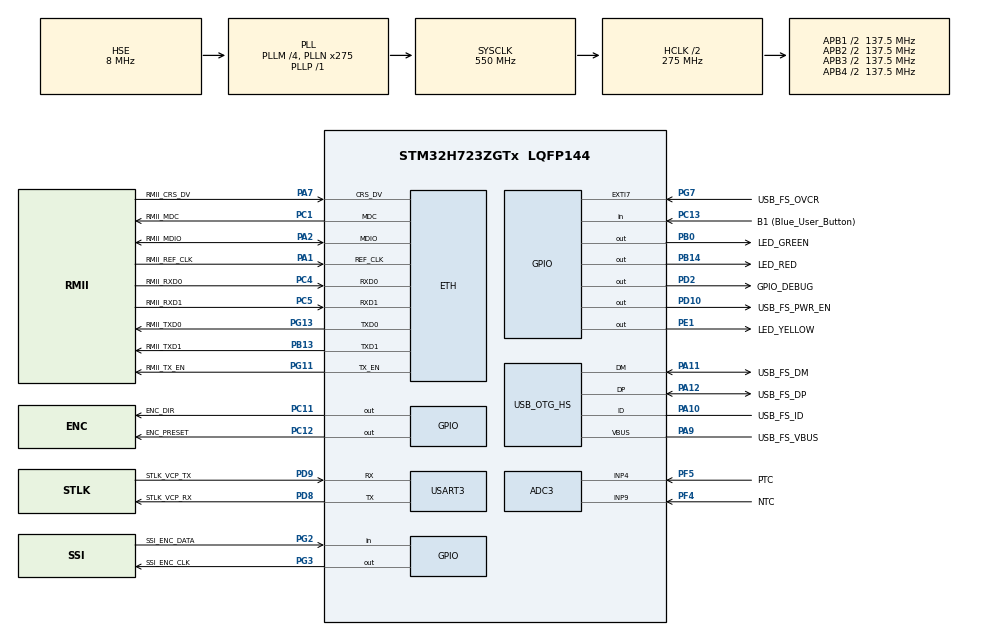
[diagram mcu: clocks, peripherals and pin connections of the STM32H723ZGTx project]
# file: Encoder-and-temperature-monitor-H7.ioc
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ADC3.Channel-1\#ChannelRegularConversion=ADC_CHANNEL_4
ADC3.ClockPrescalerADC3=ADC_CLOCK_ASYNC_DIV64
ADC3.ContinuousConvMode=DISABLE
ADC3.NbrOfConversion=1
ADC3.NbrOfConversionFlag=1
ADC3.OffsetNumber-1\#ChannelRegularConversion=ADC_OFFSET_NONE
ADC3.OffsetSaturation-1\#ChannelRegularConversion=DISABLE
ADC3.OffsetSign-1\#ChannelRegularConversion=ADC3_OFFSET_SIGN_NEGATIVE
ADC3.Overrun=ADC_OVR_DATA_OVERWRITTEN
ADC3.Rank-1\#ChannelRegularConversion=1
ADC3.ResolutionADC3=ADC_RESOLUTION_12B
ADC3.SamplingTime-1\#ChannelRegularConversion=ADC3_SAMPLETIME_6CYCLES_5
ETH.MediaInterface=HAL_ETH_RMII_MODE
Mcu.Family=STM32H7
Mcu.Name=STM32H723ZGTx
Mcu.Package=LQFP144
NVIC.PriorityGroup=NVIC_PRIORITYGROUP_4
NVIC.TIM7_IRQn=true\:0\:0\:false\:false\:true\:true\:true\:true
PA1.GPIO_Label=RMII_REF_CLK
PA1.Mode=RMII
PA1.Signal=ETH_REF_CLK
PA10.GPIO_Label=USB_FS_ID
PA10.Mode=OTG/Dual-Role-Device-FS
PA10.Signal=USB_OTG_HS_ID
PA11.GPIO_Label=USB_FS_DM
PA11.Mode=OTG/Dual-Role-Device-FS
PA11.Signal=USB_OTG_HS_DM
PA12.GPIO_Label=USB_FS_DP
PA12.Mode=OTG/Dual-Role-Device-FS
PA12.Signal=USB_OTG_HS_DP
PA13(JTMS/SWDIO).GPIO_Label=SWDIO
PA13(JTMS/SWDIO).Mode=Trace_Asynchronous_SW
PA13(JTMS/SWDIO).Signal=DEBUG_JTMS-SWDIO
PA14(JTCK/SWCLK).GPIO_Label=SWCLK
PA14(JTCK/SWCLK).Mode=Trace_Asynchronous_SW
PA14(JTCK/SWCLK).Signal=DEBUG_JTCK-SWCLK
PA2.GPIO_Label=RMII_MDIO
PA2.Mode=RMII
PA2.Signal=ETH_MDIO
PA7.GPIO_Label=RMII_CRS_DV
PA7.Mode=RMII
PA7.Signal=ETH_CRS_DV
PA9.GPIO_Label=USB_FS_VBUS
PA9.Mode=Activate_VBUS_FS
PA9.Signal=USB_OTG_HS_VBUS
PB0.GPIO_Label=LED_GREEN
PB0.Signal=GPIO_Output
PB13.GPIO_Label=RMII_TXD1
PB13.Mode=RMII
PB13.Signal=ETH_TXD1
PB14.GPIO_Label=LED_RED
PB14.Signal=GPIO_Output
PB3(JTDO/TRACESWO).GPIO_Label=SWO
PB3(JTDO/TRACESWO).Mode=Trace_Asynchronous_SW
PB3(JTDO/TRACESWO).Signal=DEBUG_JTDO-SWO
PC1.GPIO_Label=RMII_MDC
PC1.Mode=RMII
PC1.Signal=ETH_MDC
PC11.GPIO_Label=ENC_DIR
PC11.Signal=GPIO_Output
PC12.GPIO_Label=ENC_PRESET
PC12.Signal=GPIO_Output
PC13.GPIO_Label=B1 (Blue_User_Button)
PC13.Signal=GPIO_Input
PC14-OSC32_IN.Mode=LSE-External-Oscillator
PC14-OSC32_IN.Signal=RCC_OSC32_IN
PC15-OSC32_OUT.Mode=LSE-External-Oscillator
PC15-OSC32_OUT.Signal=RCC_OSC32_OUT
PC4.GPIO_Label=RMII_RXD0
PC4.Mode=RMII
PC4.Signal=ETH_RXD0
PC5.GPIO_Label=RMII_RXD1
PC5.Mode=RMII
PC5.Signal=ETH_RXD1
PD10.GPIO_Label=USB_FS_PWR_EN
PD10.Signal=GPIO_Output
PD2.GPIO_Label=GPIO_DEBUG
PD2.Signal=GPIO_Output
PD8.GPIO_Label=STLK_VCP_RX
PD8.Mode=Asynchronous
PD8.Signal=USART3_TX
PD9.GPIO_Label=STLK_VCP_TX
PD9.Mode=Asynchronous
PD9.Signal=USART3_RX
PE1.GPIO_Label=LED_YELLOW
PE1.Signal=GPIO_Output
PF4.GPIO_Label=NTC
PF4.Mode=IN9-Single-Ended
PF4.Signal=ADC3_INP9
PF5.GPIO_Label=PTC
PF5.Mode=IN4-Single-Ended
PF5.Signal=ADC3_INP4
PG11.GPIO_Label=RMII_TX_EN
PG11.Mode=RMII
PG11.Signal=ETH_TX_EN
PG13.GPIO_Label=RMII_TXD0
PG13.Mode=RMII
PG13.Signal=ETH_TXD0
PG2.GPIO_Label=SSI_ENC_DATA
PG2.Signal=GPIO_Input
PG3.GPIO_Label=SSI_ENC_CLK
PG3.Signal=GPIO_Output
PG7.GPIO_Label=USB_FS_OVCR
PG7.Signal=GPXTI7
PH0-OSC_IN.GPIO_Label=MCO
PH0-OSC_IN.Mode=HSE-External-Clock-Source
PH0-OSC_IN.Signal=RCC_OSC_IN
PH1-OSC_OUT.Signal=RCC_OSC_OUT
ProjectManager.HeapSize=0x200
ProjectManager.StackSize=0x400
ProjectManager.TargetToolchain=STM32CubeIDE
RCC.ADCCLockSelection=RCC_ADCCLKSOURCE_CLKP
RCC.ADCFreq_Value=64000000
RCC.APB1Freq_Value=137500000
RCC.APB2Freq_Value=137500000
RCC.APB3Freq_Value=137500000
RCC.APB4Freq_Value=137500000
RCC.CortexFreq_Value=550000000
RCC.D1PPRE=RCC_APB3_DIV2
RCC.D2PPRE1=RCC_APB1_DIV2
RCC.D2PPRE2=RCC_APB2_DIV2
RCC.D3PPRE=RCC_APB4_DIV2
RCC.DIVM1=4
RCC.DIVM2=1
RCC.DIVN1=275
RCC.DIVN2=19
RCC.DIVP1=1
RCC.DIVQ1=4
RCC.HCLKFreq_Value=275000000
RCC.HPRE=RCC_HCLK_DIV2
RCC.HSE_VALUE=8000000
RCC.PLLSourceVirtual=RCC_PLLSOURCE_HSE
RCC.SYSCLKFreq_VALUE=550000000
RCC.SYSCLKSource=RCC_SYSCLKSOURCE_PLLCLK
RCC.USBCLockSelection=RCC_USBCLKSOURCE_HSI48
RCC.USBFreq_Value=48000000
TIM7.Period=10
TIM7.Prescaler=55
USART3.VirtualMode-Asynchronous=VM_ASYNC
VP_TIM7_VS_ClockSourceINT.Mode=Enable_Timer
board=NUCLEO-H723ZG

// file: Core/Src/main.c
/* USER CODE BEGIN Header */
/**
 ******************************************************************************
 * @file           : main.c
 * @brief          : Main program body
 ******************************************************************************
 * @attention
 *
 * Copyright (c) 2022 STMicroelectronics.
 * All rights reserved.
 *
 * This software is licensed under terms that can be found in the LICENSE file
 * in the root directory of this software component.
 * If no LICENSE file comes with this software, it is provided AS-IS.
 *
 ******************************************************************************
 */
/* USER CODE END Header */
#include "main.h"
#include "adc.h"
#include "eth.h"
#include "tim.h"
#include "usart.h"
#include "usb_otg.h"
#include "gpio.h"

/* USER CODE BEGIN Includes */
#include "string.h"
#include <stdio.h>
#include "ntc.h"
#include "ptc.h"
/* USER CODE END Includes */

/* USER CODE BEGIN PTD */
#define TRUE   		1
#define FALSE   	0
#define ENC_BITs    27  // 13 multiturn, 12 angle, 2 stop-bits
#define AVG_MEAS    3
#define BUF_SIZE   80
/* USER CODE END PTD */

/* USER CODE BEGIN PD */

uint32_t enc_clk_count = 0;
uint32_t enc_bits[AVG_MEAS];
uint8_t ping = TRUE;
uint8_t sampl_cycles = 3;
uint8_t i = 0;
uint32_t angle[AVG_MEAS];
uint16_t turn[AVG_MEAS];
uint8_t tx_buff[BUF_SIZE];
uint8_t tx_buff_size;

uint8_t clk_front_count = 0;
/* USER CODE END PD */

void SystemClock_Config(void);
void PeriphCommonClock_Config(void);

/* USER CODE BEGIN 0 */
void getTemperature();
/* USER CODE END 0 */

int main(void)
{

	/* MCU Configuration--------------------------------------------------------*/

	/* Reset of all peripherals, Initializes the Flash interface and the Systick. */
	HAL_Init();

	/* Configure the system clock */
	SystemClock_Config();

	/* Configure the peripherals common clocks */
	PeriphCommonClock_Config();

	/* Initialize all configured peripherals */
	MX_GPIO_Init();
	MX_ETH_Init();
	MX_USART3_UART_Init();
	MX_USB_OTG_HS_USB_Init();
	MX_TIM7_Init();
	MX_ADC3_Init();
	/* USER CODE BEGIN 2 */

	memset(tx_buff, (uint8_t)0x0, sizeof(uint8_t)*BUF_SIZE);
	memset(enc_bits,(uint8_t)0x0, sizeof(uint32_t)*AVG_MEAS);
	tx_buff_size = (uint8_t) sprintf((char *) tx_buff, "Hello\n\r");
	HAL_UART_Transmit(&huart3, (uint8_t*)tx_buff, tx_buff_size, 500);

	// Set high preset pin for 2.5s to reset the encoder counter
	HAL_Delay(1000);
	HAL_GPIO_WritePin(ENC_PRESET_GPIO_Port, ENC_PRESET_Pin, GPIO_PIN_SET);
	HAL_Delay(3000);
	HAL_GPIO_WritePin(ENC_PRESET_GPIO_Port, ENC_PRESET_Pin, GPIO_PIN_RESET);
	HAL_Delay(500);
	/* USER CODE END 2 */

	/* Infinite loop */
	while (1)
	{

		/* USER CODE BEGIN 3 */
		memset(enc_bits,(uint8_t)0x0, sizeof(uint32_t)*AVG_MEAS);

		for (i = 0; i < AVG_MEAS; i++)
		{
			ping = TRUE;
			enc_clk_count = 0;
			enc_clk_count = 0;
			HAL_TIM_Base_Start_IT(&htim7);

			while (enc_clk_count < (ENC_BITs * 4) )
			{
				while (ping){}

				if ((enc_clk_count % 4) == 0)
				{
					HAL_GPIO_TogglePin(GPIO_DEBUG_GPIO_Port, GPIO_DEBUG_Pin);
					enc_bits[i] <<= 1;
					enc_bits[i] |= ( ((uint32_t) HAL_GPIO_ReadPin(SSI_ENC_DATA_GPIO_Port, SSI_ENC_DATA_Pin)) & 0x00000001);
					HAL_GPIO_TogglePin(GPIO_DEBUG_GPIO_Port, GPIO_DEBUG_Pin);
				}
				else if ((enc_clk_count % 2) == 0)
				{}
				else
				{
					HAL_GPIO_TogglePin(SSI_ENC_CLK_GPIO_Port, SSI_ENC_CLK_Pin);
					HAL_GPIO_TogglePin(TEST_OUT_GPIO_Port, TEST_OUT_Pin);
					clk_front_count++;
				}
				ping = TRUE;
			}

			HAL_GPIO_WritePin(SSI_ENC_CLK_GPIO_Port, SSI_ENC_CLK_Pin, GPIO_PIN_SET);
			HAL_TIM_Base_Stop_IT(&htim7);
			HAL_Delay(5);
		}

		for (i = 0; i < AVG_MEAS; i++)
		{
			enc_bits[i] >>= 2;
			//13 bits angle
			angle[i] = (int32_t) ((enc_bits[i] & 0x00001FFF) * 44);
			//12 bits multi-turn
			turn[i]  = (int16_t)((enc_bits[i] & 0x01FFE000) >> 13);
		}
		tx_buff_size = (uint8_t) sprintf((char *) tx_buff, "------\r\nENCODER:\r\n%lu|%lu|%lu mDeg\n\r%u|%u|%u turns\n\r\n\r",
				angle[0], angle[1], angle[2], turn[0], turn[1], turn[2]);
		HAL_UART_Transmit(&huart3, (uint8_t*)tx_buff, tx_buff_size, 1000);
		getTemperature();
		HAL_Delay(500);
	}
	/* USER CODE END 3 */
}

void SystemClock_Config(void)
{
	RCC_OscInitTypeDef RCC_OscInitStruct = {0};
	RCC_ClkInitTypeDef RCC_ClkInitStruct = {0};

	/** Supply configuration update enable
	 */
	HAL_PWREx_ConfigSupply(PWR_LDO_SUPPLY);

	/** Configure the main internal regulator output voltage
	 */
	__HAL_PWR_VOLTAGESCALING_CONFIG(PWR_REGULATOR_VOLTAGE_SCALE0);

	while(!__HAL_PWR_GET_FLAG(PWR_FLAG_VOSRDY)) {}

	/** Initializes the RCC Oscillators according to the specified parameters
	 * in the RCC_OscInitTypeDef structure.
	 */
	RCC_OscInitStruct.OscillatorType = RCC_OSCILLATORTYPE_HSI48|RCC_OSCILLATORTYPE_HSI
			|RCC_OSCILLATORTYPE_HSE;
	RCC_OscInitStruct.HSEState = RCC_HSE_BYPASS;
	RCC_OscInitStruct.HSIState = RCC_HSI_DIV1;
	RCC_OscInitStruct.HSICalibrationValue = RCC_HSICALIBRATION_DEFAULT;
	RCC_OscInitStruct.HSI48State = RCC_HSI48_ON;
	RCC_OscInitStruct.PLL.PLLState = RCC_PLL_ON;
	RCC_OscInitStruct.PLL.PLLSource = RCC_PLLSOURCE_HSE;
	RCC_OscInitStruct.PLL.PLLM = 4;
	RCC_OscInitStruct.PLL.PLLN = 275;
	RCC_OscInitStruct.PLL.PLLP = 1;
	RCC_OscInitStruct.PLL.PLLQ = 4;
	RCC_OscInitStruct.PLL.PLLR = 2;
	RCC_OscInitStruct.PLL.PLLRGE = RCC_PLL1VCIRANGE_1;
	RCC_OscInitStruct.PLL.PLLVCOSEL = RCC_PLL1VCOWIDE;
	RCC_OscInitStruct.PLL.PLLFRACN = 0;
	if (HAL_RCC_OscConfig(&RCC_OscInitStruct) != HAL_OK)
	{
		Error_Handler();
	}

	/** Initializes the CPU, AHB and APB buses clocks
	 */
	RCC_ClkInitStruct.ClockType = RCC_CLOCKTYPE_HCLK|RCC_CLOCKTYPE_SYSCLK
			|RCC_CLOCKTYPE_PCLK1|RCC_CLOCKTYPE_PCLK2
			|RCC_CLOCKTYPE_D3PCLK1|RCC_CLOCKTYPE_D1PCLK1;
	RCC_ClkInitStruct.SYSCLKSource = RCC_SYSCLKSOURCE_PLLCLK;
	RCC_ClkInitStruct.SYSCLKDivider = RCC_SYSCLK_DIV1;
	RCC_ClkInitStruct.AHBCLKDivider = RCC_HCLK_DIV2;
	RCC_ClkInitStruct.APB3CLKDivider = RCC_APB3_DIV2;
	RCC_ClkInitStruct.APB1CLKDivider = RCC_APB1_DIV2;
	RCC_ClkInitStruct.APB2CLKDivider = RCC_APB2_DIV2;
	RCC_ClkInitStruct.APB4CLKDivider = RCC_APB4_DIV2;

	if (HAL_RCC_ClockConfig(&RCC_ClkInitStruct, FLASH_LATENCY_3) != HAL_OK)
	{
		Error_Handler();
	}
}

void PeriphCommonClock_Config(void)
{
	RCC_PeriphCLKInitTypeDef PeriphClkInitStruct = {0};

	/** Initializes the peripherals clock
	 */
	PeriphClkInitStruct.PeriphClockSelection = RCC_PERIPHCLK_CKPER;
	PeriphClkInitStruct.CkperClockSelection = RCC_CLKPSOURCE_HSI;
	if (HAL_RCCEx_PeriphCLKConfig(&PeriphClkInitStruct) != HAL_OK)
	{
		Error_Handler();
	}
}

/* USER CODE BEGIN 4 */
void getTemperature(){

	HAL_UART_Transmit(&huart3, (uint8_t*)"Temperatures: \r\n", strlen("Temperatures: \r\n"), 1000);
	double ptc_volt = get_ptc_volt(&hadc3, 200);
	get_ptc_temp_zone(ptc_volt);
	HAL_Delay(1000);

	double ntc_volt = get_ntc_volt(&hadc3, 200);
	get_ntc_temp_zone(ntc_volt);
	HAL_Delay(1000);
	// println(&huart2, "------------------------------");
}

void HAL_TIM_PeriodElapsedCallback(TIM_HandleTypeDef *htim)
{

	/* USER CODE BEGIN Callback 1 */
	if(htim->Instance == TIM7)
	{
		enc_clk_count++;
		ping = FALSE;
	}
	/* USER CODE END Callback 1 */
}
/* USER CODE END 4 */

void Error_Handler(void)
{
	__disable_irq();
	while (1)
	{
	}
}
